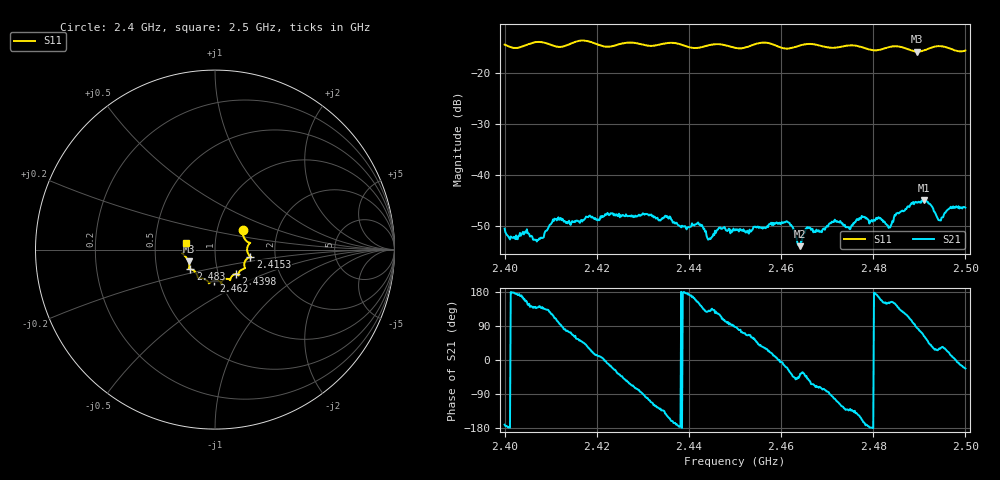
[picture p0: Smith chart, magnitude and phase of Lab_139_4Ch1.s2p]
# Hz S RI R 50
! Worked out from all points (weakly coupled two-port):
!   601 points, 2.4 GHz to 2.5 GHz, reference 50 ohm
!   highest |S21| = -44.96 dB at 2.491 GHz (marker M1); lowest = -53.9 dB at 2.4642 GHz (marker M2)
!   lowest |S11| = -15.9 dB at 2.4895 GHz (marker M3), VSWR 1.38, Z = 36.9 - j5.01 ohm
!   |S11| at or under -10 dB: start of sweep to end of sweep
!   S12 and S22 are empty: the file has one direction only
!   S11 on the Smith chart (normalised r, x): 2.4 GHz: 1.33, +0.29; 2.4153 GHz: 1.48, -0.12; 2.4398 GHz: 1.21, -0.34; 2.462 GHz: 0.93, -0.33; 2.483 GHz: 0.74, -0.17; 2.5 GHz: 0.72, +0.06
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2.4e9  0.1551 0.1066  -0.00295 -0.00048  0 0  0 0
2.406833e9  0.1957 0.0379  -0.00169 0.00159  0 0  0 0
2.411e9  0.1808 0.0137  -0.00127 0.00346  0 0  0 0
2.415333e9  0.1965 -0.0388  0.00152 0.00312  0 0  0 0
2.416667e9  0.2019 -0.0429  0.00236 0.00276  0 0  0 0
2.433333e9  0.1311 -0.1337  -0.00216 -0.00295  0 0  0 0
2.439833e9  0.1151 -0.1364  -0.00307 0.000395  0 0  0 0
2.442333e9  0.0932 -0.1493  -0.00272 0.00177  0 0  0 0
2.4445e9  0.0848 -0.1662  -0.0015 0.00186  0 0  0 0
2.45e9  0.0647 -0.1629  0.000127 0.00287  0 0  0 0
2.462e9  -0.00517 -0.1731  0.00271 -0.00177  0 0  0 0
2.464167e9  -0.0281 -0.1829  0.00162 -0.00119  0 0  0 0
2.466667e9  -0.0342 -0.1876  0.00131 -0.00266  0 0  0 0
2.471833e9  -0.0679 -0.1622  -0.000916 -0.00342  0 0  0 0
2.474667e9  -0.0911 -0.1606  -0.00211 -0.00224  0 0  0 0
2.478e9  -0.0991 -0.1446  -0.00374 -0.00103  0 0  0 0
2.483e9  -0.1377 -0.1093  -0.00277 0.00166  0 0  0 0
2.483333e9  -0.1401 -0.1091  -0.00267 0.00144  0 0  0 0
2.4895e9  -0.1465 -0.066  0.000505 0.00533  0 0  0 0
2.491e9  -0.1585 -0.0455  0.00257 0.00503  0 0  0 0
2.494333e9  -0.1806 -0.0218  0.00312 0.00183  0 0  0 0
2.5e9  -0.16 0.0394  0.00442 -0.00183  0 0  0 0
